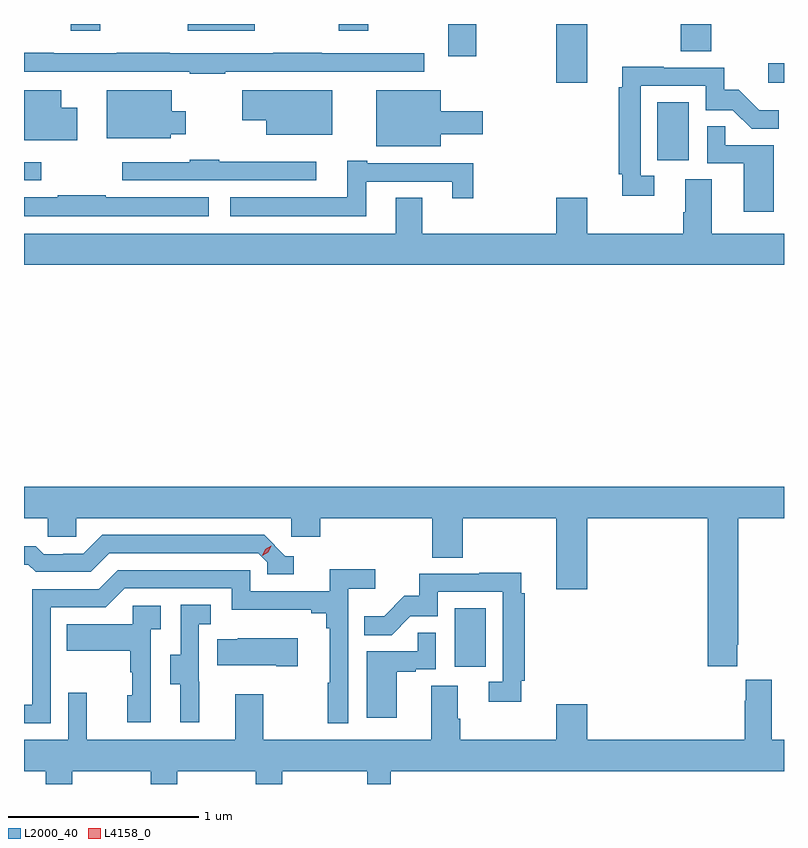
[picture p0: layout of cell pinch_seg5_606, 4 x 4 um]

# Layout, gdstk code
import gdstk
lib = gdstk.Library(unit=1e-6, precision=1e-09)
def R(c, l, rs):  # rectangles x0, y0, x1, y1
    for r in rs: c.add(gdstk.rectangle(r[:2], r[2:], *l))
def P(c, l, *ps):  # polygons
    for p in ps: c.add(gdstk.Polygon(p, *l))
L2000_40 = (2000, 40)
L4158_0 = (4158, 0)

pinch_seg5_606 = lib.new_cell('pinch_seg5_606')
R(pinch_seg5_606, L2000_40, [(1039.598,867.966,1039.762,868.273), (1037.332,870.525,1037.422,870.621), (1040.666,870.63,1040.83,870.937), (1040.132,871.038,1040.296,871.348), (1041.249,871.04,1041.332,871.142), (1039.565,871.179,1039.713,871.348), (1040.788,871.204,1040.948,871.348), (1037.578,871.313,1037.733,871.348), (1038.194,871.313,1038.547,871.348), (1038.988,871.313,1039.143,871.348)])
P(pinch_seg5_606, L2000_40, [(1038.392,871.098),(1039.438,871.098),(1039.438,871.194),(1038.899,871.194),(1038.899,871.196),(1038.643,871.196),(1038.643,871.194),(1038.098,871.194),(1038.098,871.196),(1037.821,871.196),(1037.821,871.194),(1037.489,871.194),(1037.489,871.196),(1037.332,871.196),(1037.332,871.098),(1038.205,871.098),(1038.205,871.086),(1038.392,871.086)],
  [(1040.65,870.549),(1040.577,870.549),(1040.577,871.023),(1040.919,871.023),(1040.919,870.894),(1041.063,870.894),(1041.161,870.796),(1041.305,870.796),(1041.305,870.895),(1041.201,870.895),(1041.094,871.002),(1041.018,871.002),(1041.018,871.119),(1040.699,871.119),(1040.699,871.124),(1040.48,871.124),(1040.48,871.016),(1040.461,871.016),(1040.461,870.556),(1040.48,870.556),(1040.48,870.444),(1040.65,870.444)],
  [(1038.955,871),(1038.48,871),(1038.48,870.842),(1038.608,870.842),(1038.608,870.764),(1038.955,870.764)],
  [(1039.525,870.767),(1039.747,870.767),(1039.747,870.889),(1039.525,870.889),(1039.525,871),(1039.187,871),(1039.187,870.704),(1039.525,870.704)],
  [(1038.105,870.767),(1038.184,870.767),(1038.184,870.889),(1038.109,870.889),(1038.109,871),(1037.768,871),(1037.768,870.746),(1038.105,870.746)],
  [(1037.611,870.907),(1037.527,870.907),(1037.527,871),(1037.332,871),(1037.332,870.737),(1037.611,870.737)],
  [(1041.277,870.711),(1041.023,870.711),(1041.023,870.809),(1040.928,870.809),(1040.928,870.615),(1041.119,870.615),(1041.119,870.36),(1041.277,870.36)],
  [(1038.871,870.622),(1038.512,870.622),(1038.512,870.624),(1038.359,870.624),(1038.359,870.634),(1038.205,870.634),(1038.205,870.621),(1037.85,870.621),(1037.85,870.525),(1038.871,870.525)],
  [(1039.132,870.519),(1039.586,870.519),(1039.586,870.432),(1039.696,870.432),(1039.696,870.615),(1039.138,870.615),(1039.138,870.628),(1039.034,870.628),(1039.034,870.436),(1038.417,870.436),(1038.417,870.335),(1039.132,870.335)],
  [(1041.332,870.244),(1040.953,870.244),(1040.953,870.53),(1040.813,870.53),(1040.813,870.356),(1040.801,870.356),(1040.801,870.244),(1040.296,870.244),(1040.296,870.433),(1040.132,870.433),(1040.132,870.244),(1039.429,870.244),(1039.429,870.434),(1039.289,870.434),(1039.289,870.244),(1037.332,870.244),(1037.332,870.08),(1041.332,870.08)],
  [(1038.304,870.436),(1037.762,870.436),(1037.762,870.446),(1037.509,870.446),(1037.509,870.436),(1037.332,870.436),(1037.332,870.335),(1038.304,870.335)],
  [(1041.085,868.081),(1041.09,868.081),(1041.09,868.748),(1041.332,868.748),(1041.332,868.912),(1037.332,868.912),(1037.332,868.748),(1037.457,868.748),(1037.457,868.65),(1037.607,868.65),(1037.607,868.748),(1038.738,868.748),(1038.738,868.65),(1038.89,868.65),(1038.89,868.748),(1039.481,868.748),(1039.481,868.54),(1039.641,868.54),(1039.641,868.748),(1040.132,868.748),(1040.132,868.374),(1040.296,868.374),(1040.296,868.748),(1040.93,868.748),(1040.93,867.969),(1041.085,867.969)],
  [(1038.751,868.548),(1038.708,868.548),(1038.597,868.659),(1037.744,868.659),(1037.645,868.56),(1037.538,868.56),(1037.538,868.557),(1037.435,868.557),(1037.393,868.6),(1037.332,868.6),(1037.332,868.503),(1037.354,868.503),(1037.393,868.464),(1037.682,868.464),(1037.781,868.563),(1038.564,868.563),(1038.612,868.515),(1038.612,868.452),(1038.751,868.452)],
  [(1037.472,868.278),(1037.763,868.278),(1037.862,868.377),(1038.426,868.377),(1038.426,868.265),(1038.845,868.265),(1038.845,868.246),(1038.922,868.246),(1038.922,868.169),(1038.941,868.169),(1038.941,867.881),(1038.93,867.881),(1038.93,867.669),(1039.038,867.669),(1039.038,868.376),(1039.18,868.376),(1039.18,868.478),(1038.941,868.478),(1038.941,868.362),(1038.522,868.362),(1038.522,868.473),(1037.825,868.473),(1037.726,868.374),(1037.376,868.374),(1037.376,867.765),(1037.332,867.765),(1037.332,867.669),(1037.472,867.669)],
  [(1039.949,867.892),(1039.967,867.892),(1039.967,868.352),(1039.949,868.352),(1039.949,868.46),(1039.729,868.46),(1039.729,868.455),(1039.411,868.455),(1039.411,868.338),(1039.334,868.338),(1039.227,868.231),(1039.123,868.231),(1039.123,868.132),(1039.267,868.132),(1039.365,868.23),(1039.509,868.23),(1039.509,868.359),(1039.851,868.359),(1039.851,867.885),(1039.779,867.885),(1039.779,867.78),(1039.949,867.78)],
  [(1038.254,867.885),(1038.252,867.885),(1038.252,868.189),(1038.316,868.189),(1038.316,868.292),(1038.156,868.292),(1038.156,868.029),(1038.101,868.029),(1038.101,867.874),(1038.155,867.874),(1038.155,867.672),(1038.254,867.672)],
  [(1038,868.163),(1038.052,868.163),(1038.052,868.287),(1037.904,868.287),(1037.904,868.189),(1037.557,868.189),(1037.557,868.049),(1037.892,868.049),(1037.892,867.935),(1037.902,867.935),(1037.902,867.816),(1037.876,867.816),(1037.876,867.672),(1038,867.672)],
  [(1039.294,867.939),(1039.394,867.939),(1039.394,867.951),(1039.5,867.951),(1039.5,868.145),(1039.405,868.145),(1039.405,868.047),(1039.136,868.047),(1039.136,867.696),(1039.294,867.696)],
  [(1038.772,868.114),(1038.457,868.114),(1038.457,868.111),(1038.349,868.111),(1038.349,867.974),(1038.659,867.974),(1038.659,867.967),(1038.772,867.967)],
  [(1037.587,867.416),(1037.999,867.416),(1037.999,867.348),(1038.139,867.348),(1038.139,867.416),(1038.551,867.416),(1038.551,867.348),(1038.69,867.348),(1038.69,867.416),(1039.139,867.416),(1039.139,867.348),(1039.261,867.348),(1039.261,867.416),(1041.332,867.416),(1041.332,867.58),(1041.268,867.58),(1041.268,867.898),(1041.131,867.898),(1041.131,867.785),(1041.125,867.785),(1041.125,867.58),(1040.296,867.58),(1040.296,867.769),(1040.132,867.769),(1040.132,867.58),(1039.628,867.58),(1039.628,867.692),(1039.615,867.692),(1039.615,867.866),(1039.475,867.866),(1039.475,867.58),(1038.591,867.58),(1038.591,867.82),(1038.443,867.82),(1038.443,867.58),(1037.663,867.58),(1037.663,867.829),(1037.565,867.829),(1037.565,867.58),(1037.332,867.58),(1037.332,867.416),(1037.447,867.416),(1037.447,867.348),(1037.587,867.348)])
P(pinch_seg5_606, L4158_0, [(1038.587,868.55),(1038.587,868.55),(1038.603,868.583),(1038.634,868.602),(1038.634,868.602),(1038.634,868.602),(1038.618,868.569),(1038.587,868.55)])

lib.write_gds('pinch_seg5_606.gds')
